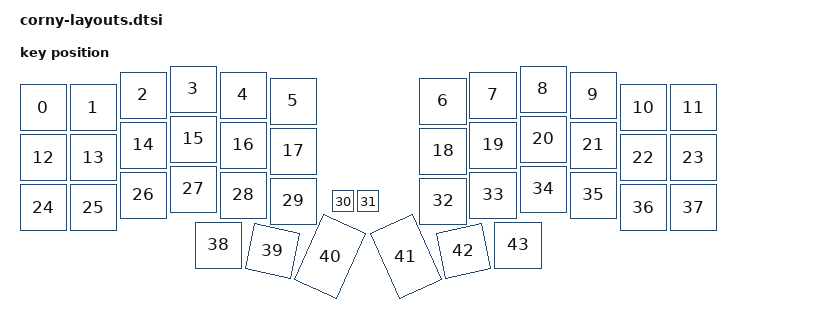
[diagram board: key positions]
#include <physical_layouts.dtsi>

/ {
    corny_layout: corny_layout {
        compatible = "zmk,physical-layout";
        display-name = "Corny 6 Column";

        keys  //                     w   h    x    y     rot    rx    ry
            = <&key_physical_attrs 100 100    0   37       0     0     0>
            , <&key_physical_attrs 100 100  100   37       0     0     0>
            , <&key_physical_attrs 100 100  200   12       0     0     0>
            , <&key_physical_attrs 100 100  300    0       0     0     0>
            , <&key_physical_attrs 100 100  400   12       0     0     0>
            , <&key_physical_attrs 100 100  500   24       0     0     0>
            , <&key_physical_attrs 100 100  800   24       0     0     0>
            , <&key_physical_attrs 100 100  900   12       0     0     0>
            , <&key_physical_attrs 100 100 1000    0       0     0     0>
            , <&key_physical_attrs 100 100 1100   12       0     0     0>
            , <&key_physical_attrs 100 100 1200   37       0     0     0>
            , <&key_physical_attrs 100 100 1300   37       0     0     0>
            , <&key_physical_attrs 100 100    0  137       0     0     0>
            , <&key_physical_attrs 100 100  100  137       0     0     0>
            , <&key_physical_attrs 100 100  200  112       0     0     0>
            , <&key_physical_attrs 100 100  300  100       0     0     0>
            , <&key_physical_attrs 100 100  400  112       0     0     0>
            , <&key_physical_attrs 100 100  500  124       0     0     0>
            , <&key_physical_attrs 100 100  800  124       0     0     0>
            , <&key_physical_attrs 100 100  900  112       0     0     0>
            , <&key_physical_attrs 100 100 1000  100       0     0     0>
            , <&key_physical_attrs 100 100 1100  112       0     0     0>
            , <&key_physical_attrs 100 100 1200  137       0     0     0>
            , <&key_physical_attrs 100 100 1300  137       0     0     0>
            , <&key_physical_attrs 100 100    0  237       0     0     0>
            , <&key_physical_attrs 100 100  100  237       0     0     0>
            , <&key_physical_attrs 100 100  200  212       0     0     0>
            , <&key_physical_attrs 100 100  300  200       0     0     0>
            , <&key_physical_attrs 100 100  400  212       0     0     0>
            , <&key_physical_attrs 100 100  500  224       0     0     0>
            , <&key_physical_attrs  50  50  625  249       0     0     0>
            , <&key_physical_attrs  50  50  675  249       0     0     0>
            , <&key_physical_attrs 100 100  800  224       0     0     0>
            , <&key_physical_attrs 100 100  900  212       0     0     0>
            , <&key_physical_attrs 100 100 1000  200       0     0     0>
            , <&key_physical_attrs 100 100 1100  212       0     0     0>
            , <&key_physical_attrs 100 100 1200  237       0     0     0>
            , <&key_physical_attrs 100 100 1300  237       0     0     0>
            , <&key_physical_attrs 100 100  350  312       0     0     0>
            , <&key_physical_attrs 100 100  450  312    1200   450   412>
            , <&key_physical_attrs 100 150  548  283    2400   548   433>
            , <&key_physical_attrs 100 150  752  283  (-2400)  852   433>
            , <&key_physical_attrs 100 100  850  312  (-1200)  950   412>
            , <&key_physical_attrs 100 100  950  312       0     0     0>
            ;
    };
};
